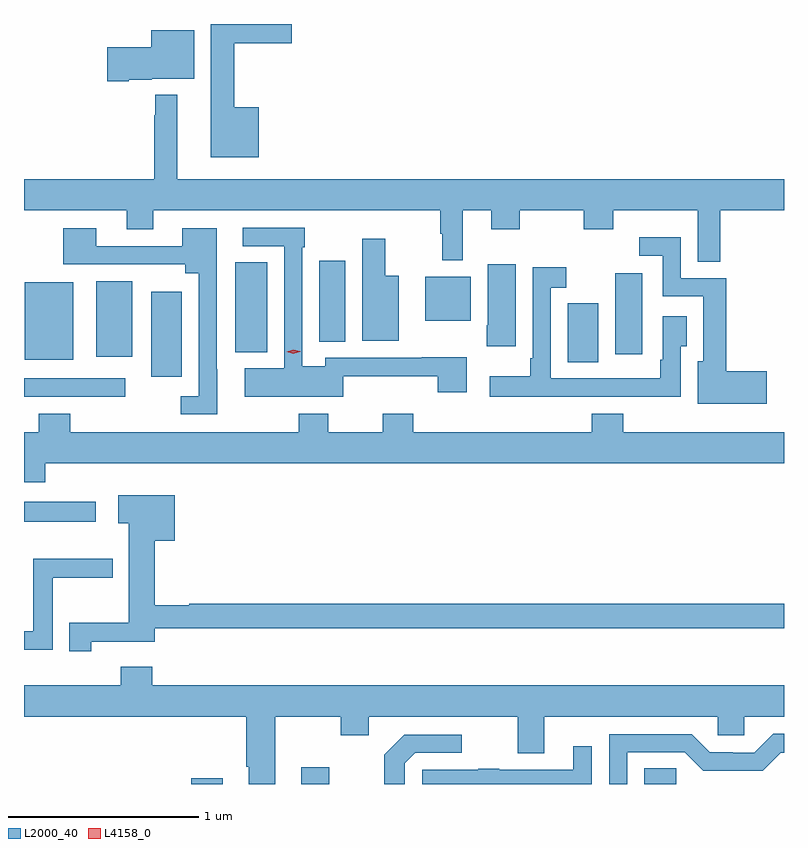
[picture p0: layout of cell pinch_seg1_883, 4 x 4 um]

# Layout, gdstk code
import gdstk
lib = gdstk.Library(unit=1e-6, precision=1e-09)
def R(c, l, rs):  # rectangles x0, y0, x1, y1
    for r in rs: c.add(gdstk.rectangle(r[:2], r[2:], *l))
def P(c, l, *ps):  # polygons
    for p in ps: c.add(gdstk.Polygon(p, *l))
L2000_40 = (2000, 40)
L4158_0 = (4158, 0)

pinch_seg1_883 = lib.new_cell('pinch_seg1_883')
R(pinch_seg1_883, L2000_40, [(578.714,527.401,578.881,527.431), (579.293,527.401,579.442,527.488), (581.1,527.401,581.269,527.483), (577.835,528.782,578.212,528.886), (577.835,529.44,578.368,529.536), (578.504,529.545,578.665,529.993), (580.697,529.621,580.858,529.932), (577.838,529.634,578.095,530.041), (578.216,529.649,578.404,530.047), (580.946,529.664,581.089,530.089), (578.948,529.673,579.115,530.147), (579.389,529.729,579.526,530.155), (579.947,529.838,580.186,530.071)])
P(pinch_seg1_883, L2000_40, [(579.07,530.962),(578.941,530.962),(578.941,531.299),(579.244,531.299),(579.244,531.401),(578.819,531.401),(578.819,530.699),(579.07,530.699)],
  [(578.386,531.107),(578.508,531.107),(578.508,531.113),(578.731,531.113),(578.731,531.367),(578.504,531.367),(578.504,531.279),(578.274,531.279),(578.274,531.101),(578.386,531.101)],
  [(581.5,530.42),(581.835,530.42),(581.835,530.584),(578.641,530.584),(578.641,531.028),(578.527,531.028),(578.527,530.921),(578.52,530.921),(578.52,530.584),(577.835,530.584),(577.835,530.42),(578.375,530.42),(578.375,530.321),(578.515,530.321),(578.515,530.42),(580.027,530.42),(580.027,530.297),(580.035,530.297),(580.035,530.157),(580.144,530.157),(580.144,530.42),(580.295,530.42),(580.295,530.321),(580.443,530.321),(580.443,530.42),(580.78,530.42),(580.78,530.321),(580.935,530.321),(580.935,530.42),(581.381,530.42),(581.381,530.149),(581.5,530.149)],
  [(579.516,529.547),(580.013,529.547),(580.013,529.464),(580.165,529.464),(580.165,529.646),(579.929,529.646),(579.929,529.644),(579.42,529.644),(579.42,529.6),(579.3,529.6),(579.3,530.225),(579.313,530.225),(579.313,530.328),(578.985,530.328),(578.985,530.232),(579.204,530.232),(579.204,529.588),(578.997,529.588),(578.997,529.439),(579.516,529.439)],
  [(578.851,529.583),(578.85,529.583),(578.85,530.326),(578.669,530.326),(578.669,530.232),(578.215,530.232),(578.215,530.326),(578.042,530.326),(578.042,530.136),(578.684,530.136),(578.684,530.09),(578.754,530.09),(578.754,529.443),(578.661,529.443),(578.661,529.347),(578.851,529.347)],
  [(581.743,529.574),(581.53,529.574),(581.53,530.064),(581.292,530.064),(581.292,530.278),(581.073,530.278),(581.073,530.181),(581.196,530.181),(581.196,529.968),(581.411,529.968),(581.411,529.627),(581.381,529.627),(581.381,529.403),(581.743,529.403)],
  [(579.808,530.077),(579.736,530.077),(579.736,530.272),(579.614,530.272),(579.614,529.733),(579.808,529.733)],
  [(580.423,530.137),(580.277,530.137),(580.277,529.816),(580.27,529.816),(580.27,529.704),(580.423,529.704)],
  [(580.705,529.44),(581.071,529.44),(581.071,529.439),(581.292,529.439),(581.292,529.705),(581.323,529.705),(581.323,529.864),(581.196,529.864),(581.196,529.633),(581.184,529.633),(581.184,529.536),(580.608,529.536),(580.608,530.013),(580.69,530.013),(580.69,530.122),(580.512,530.122),(580.512,529.642),(580.5,529.642),(580.5,529.546),(580.287,529.546),(580.287,529.439),(580.705,529.439)],
  [(577.946,529.088),(581.835,529.088),(581.835,529.252),(580.988,529.252),(580.988,529.351),(580.823,529.351),(580.823,529.252),(579.884,529.252),(579.884,529.351),(579.724,529.351),(579.724,529.252),(579.435,529.252),(579.435,529.351),(579.28,529.351),(579.28,529.252),(578.078,529.252),(578.078,529.351),(577.913,529.351),(577.913,529.252),(577.835,529.252),(577.835,528.989),(577.946,528.989)],
  [(578.19,528.149),(578.522,528.149),(578.522,528.222),(581.835,528.222),(581.835,528.35),(578.705,528.35),(578.705,528.343),(578.522,528.343),(578.522,528.68),(578.629,528.68),(578.629,528.922),(578.331,528.922),(578.331,528.773),(578.387,528.773),(578.387,528.249),(578.072,528.249),(578.072,528.099),(578.19,528.099)],
  [(577.987,528.487),(578.302,528.487),(578.302,528.587),(577.883,528.587),(577.883,528.204),(577.835,528.204),(577.835,528.107),(577.987,528.107)],
  [(579.157,527.756),(579.502,527.756),(579.502,527.657),(579.649,527.657),(579.649,527.756),(580.433,527.756),(580.433,527.562),(580.573,527.562),(580.573,527.756),(581.487,527.756),(581.487,527.658),(581.625,527.658),(581.625,527.756),(581.835,527.756),(581.835,527.92),(578.51,527.92),(578.51,528.019),(578.345,528.019),(578.345,527.92),(577.835,527.92),(577.835,527.756),(579.005,527.756),(579.005,527.491),(579.017,527.491),(579.017,527.401),(579.157,527.401)],
  [(581.01,527.568),(581.313,527.568),(581.409,527.472),(581.724,527.472),(581.817,527.565),(581.835,527.565),(581.835,527.665),(581.779,527.665),(581.679,527.565),(581.564,527.565),(581.564,527.568),(581.445,527.568),(581.349,527.664),(580.914,527.664),(580.914,527.401),(581.01,527.401)],
  [(579.84,527.511),(579.894,527.565),(580.138,527.565),(580.138,527.661),(579.837,527.661),(579.732,527.555),(579.732,527.401),(579.84,527.401)],
  [(580.823,527.599),(580.727,527.599),(580.727,527.475),(580.337,527.475),(580.337,527.48),(580.225,527.48),(580.225,527.475),(579.93,527.475),(579.93,527.401),(580.823,527.401)])
P(pinch_seg1_883, L4158_0, [(579.253,529.666),(579.218,529.675),(579.218,529.676),(579.218,529.676),(579.252,529.686),(579.288,529.678),(579.288,529.677),(579.288,529.677)])

lib.write_gds('pinch_seg1_883.gds')
